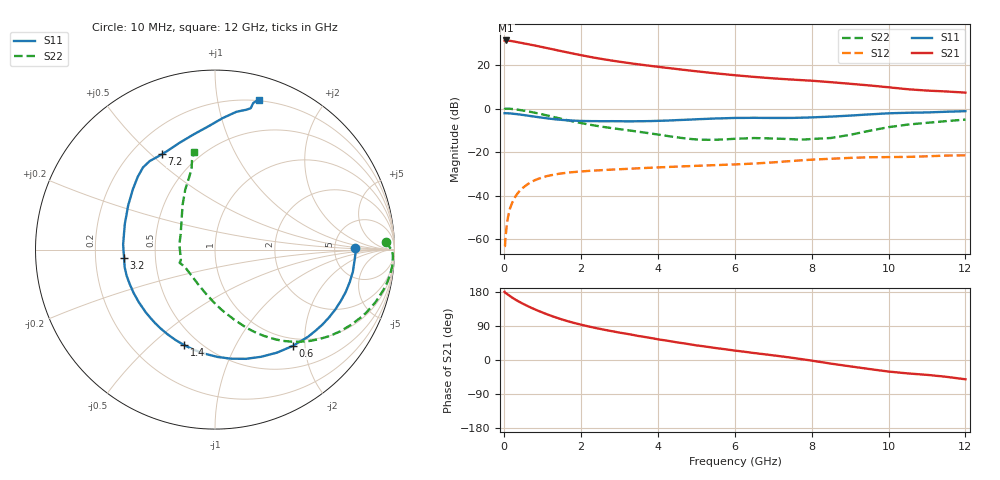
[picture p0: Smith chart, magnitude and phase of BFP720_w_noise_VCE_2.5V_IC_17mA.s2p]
! Infineon Technologies  Discrete & RF Semiconductors
! BFP720
! VCE =  2.5 V,  IC =  17 mA
! Common Emitter S-Parameters:  Aug 2012
# GHz  S  MA  R  50
!  f  S11  S21  S12  S22
! GHz  MAG  ANG  MAG  ANG  MAG  ANG  MAG  ANG
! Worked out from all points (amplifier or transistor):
!   105 points, 10 MHz to 12 GHz, reference 50 ohm
!   highest |S21| = 31.2 dB at 50 MHz (marker M1)
!   |S21| within 3 dB of that: start of sweep to 980 MHz
!   unconditionally stable (mu >= 1): start of sweep to 11.19 MHz; 4.644 GHz to 11.03 GHz
!   at 300 MHz: K = 0.13, MSG = 35.3 dB, |S12| = -40.1 dB
!   at 3.6 GHz: K = 0.86, MSG = 23.7 dB, |S12| = -27.3 dB
!   at 12 GHz: K = 0.78, MSG = 14.4 dB, |S12| = -21.5 dB
!   lowest NFmin = 0.67 dB at 450 MHz
!   S11 on the Smith chart (normalised r, x): 10 MHz: 8.08, +0.39; 600 MHz: 0.86, -1.76; 1.4 GHz: 0.41, -0.64; 3.2 GHz: 0.33, -0.04; 7.2 GHz: 0.32, +0.54; 12 GHz: 0.19, +1.31
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0.01  0.7801 0.7  36.02 179.9  0.0007 62.6  0.9519 2.7
0.02  0.783 -1.5  36.13 177.9  0.0007 105.4  0.9879 -0.4
0.05  0.78 -4.3  36.33 175.9  0.0015 99.0  0.9919 -2.2
0.15  0.7723 -13.5  35.61 168.7  0.0051 82.3  0.9862 -8.0
0.3  0.7488 -26.5  33.8 158.8  0.0099 76.5  0.9537 -15.6
0.45  0.7198 -38.9  31.88 150.3  0.0143 70.5  0.9126 -22.7
0.6  0.6897 -51.1  30.08 142.8  0.0182 65.2  0.8649 -29.1
0.8  0.6502 -66.7  27.77 133.5  0.0228 58.5  0.7999 -37.0
0.9  0.6325 -74.2  26.62 129.2  0.0247 55.5  0.7659 -40.6
1.1  0.5985 -88.5  24.45 121.1  0.0281 50.1  0.6984 -47.3
1.4  0.5593 -107.9  21.46 110.4  0.0317 43.7  0.6059 -55.8
1.7  0.5337 -124.6  18.89 101.1  0.0343 38.7  0.5268 -62.7
2.1  0.5171 -141.6  16.06 90.9  0.0366 34.2  0.447 -70.1
2.6  0.5125 -157.8  13.41 79.9  0.039 30.4  0.377 -77.9
3.2  0.5088 -174.6  11.18 68.9  0.0414 27.5  0.3189 -86.6
4.1  0.5247 161.9  8.832 53.1  0.0451 24.4  0.2459 -103.1
5  0.5678 143.7  7.142 38.6  0.0486 21.6  0.1958 -130.8
6.1  0.6092 130.2  5.704 23.7  0.0528 19.4  0.204 -156.6
7.2  0.6083 119.3  4.783 9.7  0.0601 17.9  0.2027 -161.8
8.5  0.6532 100.4  4.016 -9.5  0.0706 10.4  0.2111 154.7
10.5  0.7996 77.2  2.768 -35.4  0.0779 -2.8  0.4286 109.6
12  0.8706 73.8  2.314 -50.9  0.0846 -11.7  0.5579 102.0
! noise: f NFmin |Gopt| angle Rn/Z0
0.45  0.67  0.19  1  0.39
1.8  0.74  0.2  11  0.14
2.4  0.79  0.19  17  0.43
5.5  1.01  0.11  -46  0.18
10  1.18  0.45  -73  0.29
